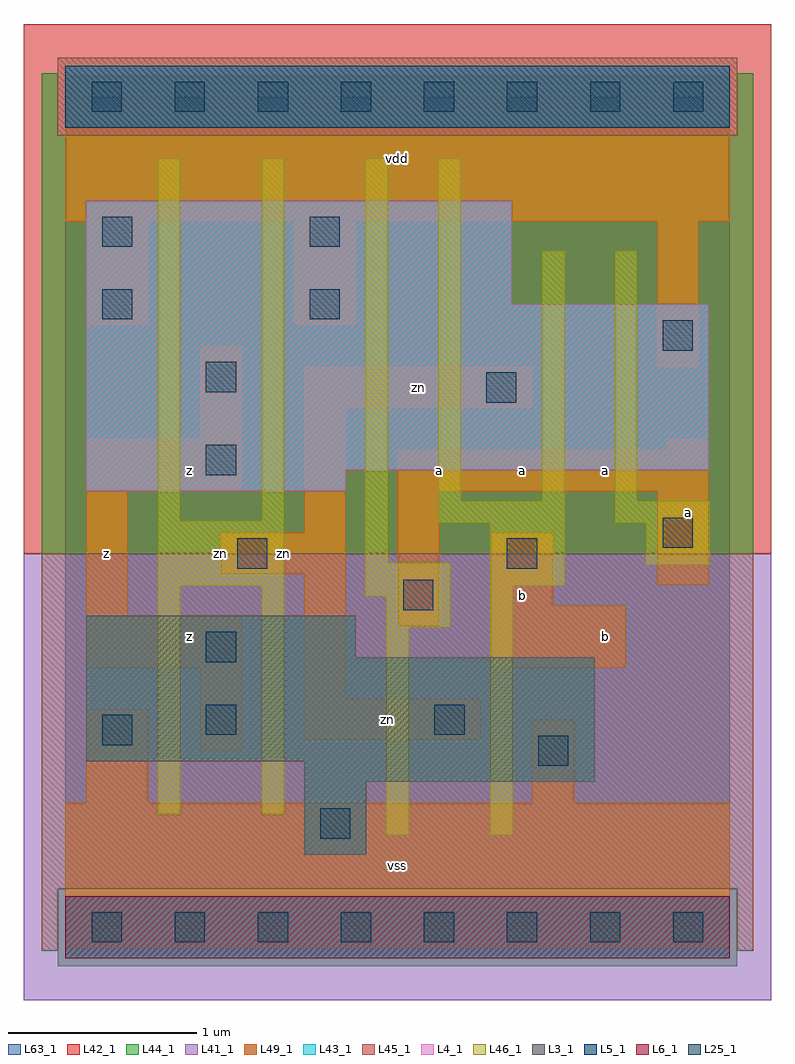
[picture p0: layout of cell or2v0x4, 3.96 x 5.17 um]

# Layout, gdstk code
import gdstk
lib = gdstk.Library(unit=1e-6, precision=1e-09)
def R(c, l, rs):  # rectangles x0, y0, x1, y1
    for r in rs: c.add(gdstk.rectangle(r[:2], r[2:], *l))
def A(c, l, x, y, w, h, nx, ny, dx, dy):  # array of equal rectangles
    R(c, l, [(x+i*dx, y+j*dy, x+i*dx+w, y+j*dy+h) for i in range(nx) for j in range(ny)])
L3_1 = (3, 1)
L4_1 = (4, 1)
L5_1 = (5, 1)
L6_1 = (6, 1)
L25_1 = (25, 1)
L41_1 = (41, 1)
L42_1 = (42, 1)
L43_1 = (43, 1)
L44_1 = (44, 1)
L45_1 = (45, 1)
L46_1 = (46, 1)
L49_1 = (49, 1)
L63_1 = (63, 1)

or2v0x4 = lib.new_cell('or2v0x4')
R(or2v0x4, L3_1, [(1.265,0.385,1.595,0.77), (1.265,0.77,2.805,0.88), (0.11,0.88,2.805,1.43), (0.11,1.43,1.54,1.65)])
R(or2v0x4, L4_1, [(0.11,2.31,1.485,2.42), (0.11,2.42,3.41,3.3), (0.11,3.3,2.365,3.85)])
R(or2v0x4, L5_1, [(0,4.235,3.52,4.565)])
R(or2v0x4, L6_1, [(0,-0.165,3.52,0.165)])
A(or2v0x4, L25_1, 0.14, -0.08, 0.16, 0.16, 8, 2, 0.44, 4.4)
R(or2v0x4, L25_1, [(1.35,0.47,1.51,0.63), (2.505,0.855,2.665,1.015), (0.195,0.965,0.355,1.125), (0.745,1.02,0.905,1.18), (1.955,1.02,2.115,1.18), (0.745,1.405,0.905,1.565), (1.79,1.68,1.95,1.84), (0.91,1.9,1.07,2.06), (2.34,1.9,2.5,2.06), (3.165,2.01,3.325,2.17), (0.745,2.395,0.905,2.555), (2.23,2.78,2.39,2.94), (0.745,2.835,0.905,2.995), (3.165,3.055,3.325,3.215), (0.195,3.22,0.355,3.38), (1.295,3.22,1.455,3.38), (0.195,3.605,0.355,3.765), (1.295,3.605,1.455,3.765)])
R(or2v0x4, L41_1, [(-0.22,-0.385,3.74,1.98)])
R(or2v0x4, L42_1, [(-0.22,1.98,3.74,4.785)])
R(or2v0x4, L43_1, [(0,-0.165,3.52,0.165), (1.265,0.385,1.595,0.77), (1.265,0.77,2.805,0.88), (0.11,0.88,2.805,1.43), (0.11,1.43,1.54,1.65), (0.11,2.31,1.485,2.42), (0.11,2.42,3.41,3.3), (0.11,3.3,2.365,3.85), (0,4.235,3.52,4.565)])
R(or2v0x4, L44_1, [(-0.04,-0.205,3.56,0.205), (-0.125,1.98,3.645,4.195), (-0.125,4.195,-0.04,4.525), (3.56,4.195,3.645,4.525)])
R(or2v0x4, L45_1, [(-0.125,-0.125,-0.04,0.205), (3.56,-0.125,3.645,0.205), (-0.125,0.205,3.645,1.98), (-0.04,4.195,3.56,4.605)])
R(or2v0x4, L46_1, [(1.7,0.49,1.82,1.59), (2.25,0.49,2.37,1.81), (0.49,0.6,0.61,1.81), (1.04,0.6,1.16,1.81), (1.7,1.59,2.04,1.755), (1.59,1.755,2.04,1.93), (0.49,1.81,1.16,2.15), (2.25,1.81,2.645,2.14), (3.075,1.92,3.415,2.14), (1.59,1.93,1.71,4.075), (1.975,2.14,2.645,2.26), (2.91,2.14,3.415,2.26), (0.49,2.15,0.61,4.075), (1.04,2.15,1.16,4.075), (1.975,2.26,2.095,4.075), (2.525,2.26,2.645,3.58), (2.91,2.26,3.03,3.58)])
R(or2v0x4, L49_1, [(0,-0.11,3.52,0.66), (0.11,0.66,0.44,1.155), (2.475,0.66,2.695,1.1), (0.715,0.935,0.935,1.375), (1.265,0.99,2.2,1.21), (1.265,1.21,1.485,1.87), (0.11,1.375,0.935,1.65), (2.255,1.375,2.97,1.705), (1.76,1.595,1.98,2.31), (0.11,1.65,0.33,2.31), (2.255,1.705,2.585,2.09), (3.135,1.815,3.41,2.31), (0.825,1.87,1.485,2.09), (1.265,2.09,1.485,2.75), (0.11,2.31,0.935,2.585), (1.76,2.31,3.41,2.53), (3.19,2.53,3.41,2.585), (0.715,2.585,0.935,3.08), (1.265,2.75,2.475,2.97), (3.135,2.97,3.355,3.74), (0.11,3.19,0.44,3.74), (1.21,3.19,1.54,3.74), (0,3.74,3.52,4.51)])
R(or2v0x4, L63_1, [(0,0,3.52,4.4)])
or2v0x4.add(gdstk.Label('zn', (0.825,1.98), layer=46, texttype=1))
or2v0x4.add(gdstk.Label('z', (0.22,1.98), layer=49, texttype=1))
or2v0x4.add(gdstk.Label('z', (0.66,1.54), layer=49, texttype=1))
or2v0x4.add(gdstk.Label('z', (0.66,2.42), layer=49, texttype=1))
or2v0x4.add(gdstk.Label('vss', (1.76,0.33), layer=49, texttype=1))
or2v0x4.add(gdstk.Label('zn', (1.155,1.98), layer=49, texttype=1))
or2v0x4.add(gdstk.Label('a', (1.98,2.42), layer=49, texttype=1))
or2v0x4.add(gdstk.Label('vdd', (1.76,4.07), layer=49, texttype=1))
or2v0x4.add(gdstk.Label('zn', (1.705,1.1), layer=49, texttype=1))
or2v0x4.add(gdstk.Label('b', (2.42,1.76), layer=49, texttype=1))
or2v0x4.add(gdstk.Label('a', (2.42,2.42), layer=49, texttype=1))
or2v0x4.add(gdstk.Label('zn', (1.87,2.86), layer=49, texttype=1))
or2v0x4.add(gdstk.Label('b', (2.86,1.54), layer=49, texttype=1))
or2v0x4.add(gdstk.Label('a', (2.86,2.42), layer=49, texttype=1))
or2v0x4.add(gdstk.Label('a', (3.3,2.2), layer=49, texttype=1))

lib.write_gds('or2v0x4.gds')
